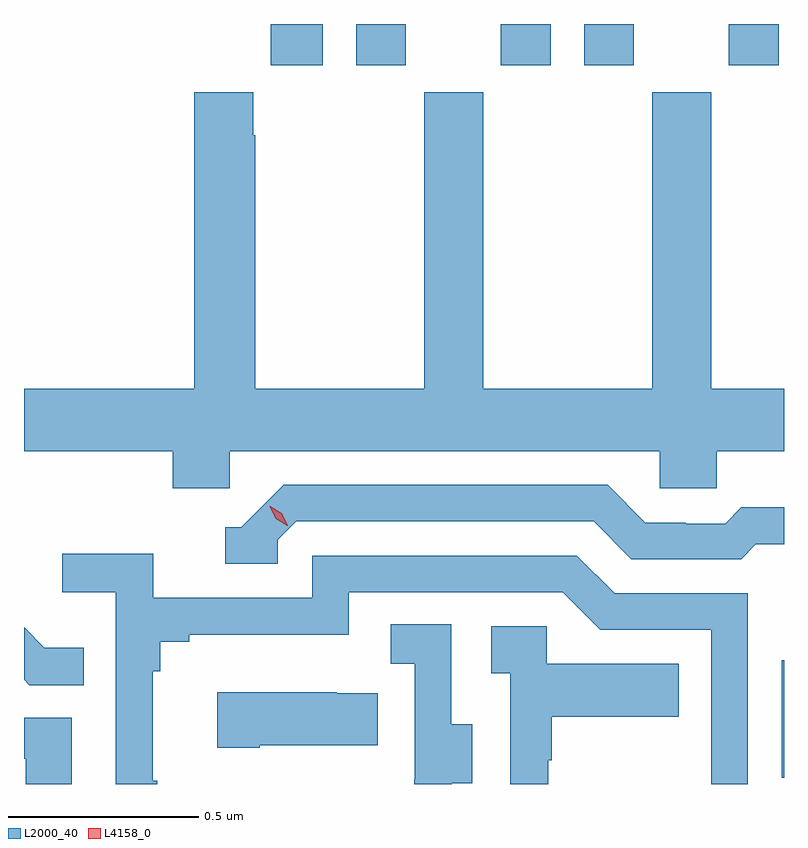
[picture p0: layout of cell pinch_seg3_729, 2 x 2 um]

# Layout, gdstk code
import gdstk
lib = gdstk.Library(unit=1e-6, precision=1e-09)
def R(c, l, rs):  # rectangles x0, y0, x1, y1
    for r in rs: c.add(gdstk.rectangle(r[:2], r[2:], *l))
def P(c, l, *ps):  # polygons
    for p in ps: c.add(gdstk.Polygon(p, *l))
L2000_40 = (2000, 40)
L4158_0 = (4158, 0)

pinch_seg3_729 = lib.new_cell('pinch_seg3_729')
R(pinch_seg3_729, L2000_40, [(1144.374,681.408,1144.38,681.718), (1143.029,683.283,1143.166,683.392), (1143.254,683.283,1143.385,683.392), (1143.635,683.283,1143.766,683.392), (1143.854,683.283,1143.985,683.392), (1144.235,683.283,1144.366,683.392)])
P(pinch_seg3_729, L2000_40, [(1142.922,682.268),(1144.053,682.268),(1144.053,682.17),(1144.203,682.17),(1144.203,682.268),(1144.38,682.268),(1144.38,682.432),(1144.188,682.432),(1144.188,683.212),(1144.033,683.212),(1144.033,682.432),(1143.588,682.432),(1143.588,683.212),(1143.433,683.212),(1143.433,682.432),(1142.988,682.432),(1142.988,683.099),(1142.983,683.099),(1142.983,683.212),(1142.828,683.212),(1142.828,682.432),(1142.38,682.432),(1142.38,682.268),(1142.771,682.268),(1142.771,682.17),(1142.922,682.17)],
  [(1143.048,682.035),(1143.096,682.083),(1143.879,682.083),(1143.978,681.984),(1144.267,681.984),(1144.306,682.023),(1144.38,682.023),(1144.38,682.12),(1144.267,682.12),(1144.225,682.077),(1144.122,682.077),(1144.122,682.08),(1144.015,682.08),(1143.916,682.179),(1143.063,682.179),(1142.952,682.068),(1142.909,682.068),(1142.909,681.972),(1143.048,681.972)],
  [(1142.731,681.401),(1142.719,681.401),(1142.719,681.689),(1142.738,681.689),(1142.738,681.766),(1142.815,681.766),(1142.815,681.785),(1143.234,681.785),(1143.234,681.897),(1143.798,681.897),(1143.897,681.798),(1144.188,681.798),(1144.188,681.392),(1144.284,681.392),(1144.284,681.894),(1143.934,681.894),(1143.835,681.993),(1143.138,681.993),(1143.138,681.882),(1142.72,681.882),(1142.72,681.998),(1142.481,681.998),(1142.481,681.896),(1142.622,681.896),(1142.622,681.392),(1142.731,681.392)],
  [(1143.505,681.394),(1143.559,681.394),(1143.559,681.549),(1143.504,681.549),(1143.504,681.812),(1143.345,681.812),(1143.345,681.709),(1143.408,681.709),(1143.408,681.405),(1143.407,681.405),(1143.407,681.392),(1143.505,681.392)],
  [(1143.759,681.455),(1143.769,681.455),(1143.769,681.569),(1144.103,681.569),(1144.103,681.709),(1143.756,681.709),(1143.756,681.807),(1143.609,681.807),(1143.609,681.683),(1143.66,681.683),(1143.66,681.392),(1143.759,681.392)],
  [(1142.537,681.751),(1142.433,681.751),(1142.38,681.804),(1142.38,681.666),(1142.394,681.652),(1142.537,681.652)],
  [(1143.001,681.494),(1143.311,681.494),(1143.311,681.631),(1143.203,681.631),(1143.203,681.634),(1142.889,681.634),(1142.889,681.487),(1143.001,681.487)],
  [(1142.506,681.567),(1142.38,681.567),(1142.38,681.459),(1142.384,681.459),(1142.384,681.392),(1142.506,681.392)])
P(pinch_seg3_729, L4158_0, [(1143.073,682.071),(1143.043,682.09),(1143.027,682.123),(1143.027,682.123),(1143.028,682.123),(1143.058,682.104),(1143.074,682.071),(1143.074,682.071)])

lib.write_gds('pinch_seg3_729.gds')
